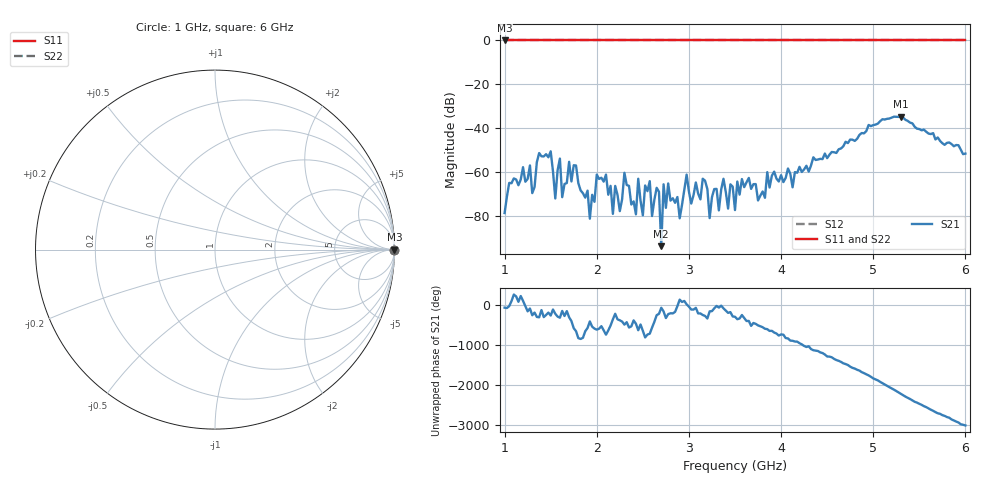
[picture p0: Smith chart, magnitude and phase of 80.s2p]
!Keysight Technologies N9926A: A.08.19
!Date: Sunday, 01 March 2026 13:34:31
!Timezone: (GMT-06:00) Central Time (US & Canada)
!Model: N9926A
!Serial: MY53102721
!GPS Latitude:
!GPS Longitude:
!GPS TimeStamp: 0001-01-01 00:00:00Z
!GPS Seconds Since Last Read: 0
!CHECKSUM:0115557165
!Correction: S11()S21(ON U)S12()S22()
!S2P File: Measurements:S11,S21,S12,S22:
# Hz S DB R 50
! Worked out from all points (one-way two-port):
!   201 points, 1 GHz to 6 GHz, reference 50 ohm
!   highest |S21| = -34.67 dB at 5.3 GHz (marker M1); lowest = -93.6 dB at 2.7 GHz (marker M2)
!   lowest |S11| = 0.0 dB at 1 GHz (marker M3)
!   |S11| at or under -10 dB: nowhere
!   |S22| runs from 0.0 to 0.0 dB; largest |S21 - S12| = 1
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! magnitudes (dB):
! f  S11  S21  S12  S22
! 1 GHz  0.0  -78.5  0.0  0.0
! 1.2 GHz  0.0  -57.7  0.0  0.0
! 1.3 GHz  0.0  -69.4  0.0  0.0
! 1.375 GHz  0.0  -51.2  0.0  0.0
! 1.5 GHz  0.0  -50.4  0.0  0.0
! 1.55 GHz  0.0  -71.9  0.0  0.0
! 1.6 GHz  0.0  -53.7  0.0  0.0
! 1.625 GHz  0.0  -71.3  0.0  0.0
! 1.7 GHz  0.0  -55.2  0.0  0.0
! 1.85 GHz  0.0  -69.5  0.0  0.0
! 2.675 GHz  0.0  -68.8  0.0  0.0
! 2.7 GHz  0.0  -93.6  0.0  0.0
! 2.775 GHz  0.0  -65.1  0.0  0.0
! 2.9 GHz  0.0  -80.9  0.0  0.0
! 2.975 GHz  0.0  -61.0  0.0  0.0
! 3.025 GHz  0.0  -74.2  0.0  0.0
! 3.5 GHz  0.0  -77.2  0.0  0.0
! 3.525 GHz  0.0  -64.2  0.0  0.0
! 4.35 GHz  0.0  -53.2  0.0  0.0
! 5.175 GHz  0.0  -35.5  0.0  0.0
! 5.3 GHz  0.0  -34.7  0.0  0.0
! 6 GHz  0.0  -51.5  0.0  0.0
